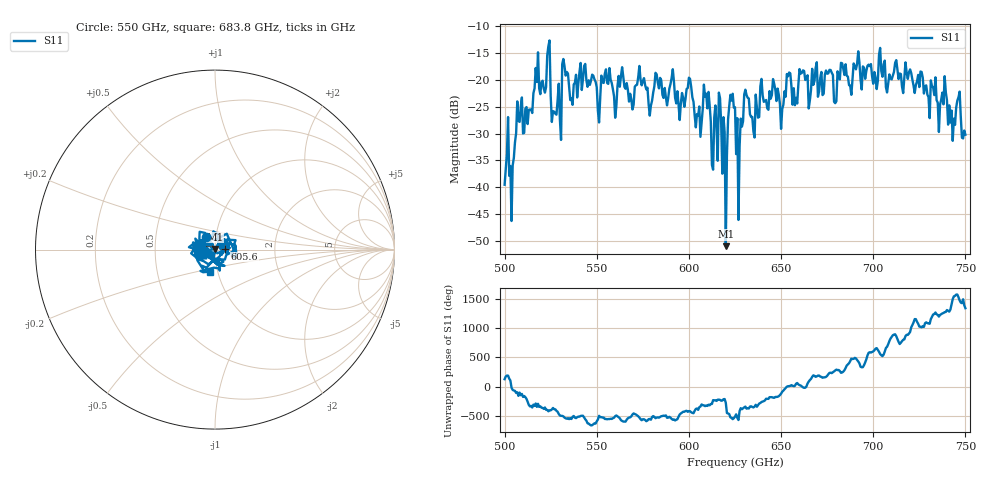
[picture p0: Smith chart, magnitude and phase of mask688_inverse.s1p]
!Created with skrf (http://scikit-rf.org).
# GHz S MA R 50.0
!freq magS11 angS11
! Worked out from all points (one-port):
!   401 points, 500 GHz to 750 GHz, reference 50 ohm
!   lowest |S11| = -51.0 dB at 620 GHz (marker M1), VSWR 1.01, Z = 50 + j0.281 ohm
!   |S11| at or under -10 dB: start of sweep to end of sweep
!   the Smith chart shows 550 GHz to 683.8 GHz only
!   S11 on the Smith chart (normalised r, x): 550 GHz: 0.90, +0.13; 605.6 GHz: 1.12, +0.01; 683.8 GHz: 0.91, -0.23
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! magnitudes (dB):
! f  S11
! 500 GHz  -39.5
! 503.8 GHz  -46.3
! 508.1 GHz  -27.8
! 513.8 GHz  -25.5
! 516.9 GHz  -17.8
! 523.8 GHz  -13.7
! 526.9 GHz  -25.9
! 531.2 GHz  -17.1
! 550 GHz  -21.4
! 562.5 GHz  -21.3
! 593.8 GHz  -22.1
! 600 GHz  -19.6
! 605.6 GHz  -25.0
! 609.4 GHz  -22.6
! 612.5 GHz  -35.8
! 620 GHz  -51.0
! 622.5 GHz  -22.8
! 625 GHz  -25.1
! 626.9 GHz  -46.1
! 631.2 GHz  -22.8
! 634.4 GHz  -26.9
! 656.2 GHz  -24.6
! 683.8 GHz  -17.9
! 687.5 GHz  -21.1
! 718.8 GHz  -19.8
! 743.1 GHz  -31.4
! 746.2 GHz  -23.3
! 750 GHz  -30.2
